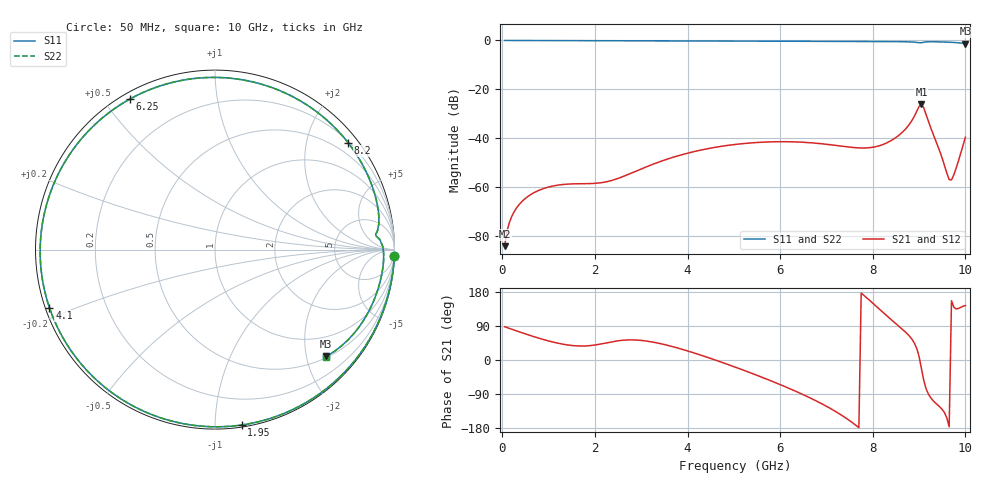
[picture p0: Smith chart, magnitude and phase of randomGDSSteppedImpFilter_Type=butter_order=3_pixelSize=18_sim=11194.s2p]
! freq	dB(S11)	phase(S11)	dB(S12)	phase(S12)
!  dB(S21)	phase(S21)	dB(S22)	phase(S22)
!S-par simulation data
#  GHz  S  DB  R 50
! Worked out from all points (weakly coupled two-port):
!   200 points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, 50 MHz to 10 GHz, reference 50 ohm
!   highest |S21| = -26.08 dB at 9.05 GHz (marker M1); lowest = -84.0 dB at 50 MHz (marker M2)
!   lowest |S11| = -1.3 dB at 10 GHz (marker M3), VSWR 13.24, Z = 26.2 - j119 ohm
!   |S11| at or under -10 dB: nowhere
!   |S22| runs from -1.3 to 0.0 dB; largest |S21 - S12| = 0
!   S11 on the Smith chart (normalised r, x): 50 MHz: 0, -52; 1.95 GHz: 0.01, -1.16; 4.1 GHz: 0.01, -0.17; 6.25 GHz: 0.02, +0.58; 8.2 GHz: 0.23, +2.83; 10 GHz: 0.52, -2.39
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0.05  -0.00 -2.2  -84.04 87.8  -84.04 87.8  -0.00 -2.2
0.25  -0.02 -10.9  -70.17 79.2  -70.17 79.2  -0.02 -10.9
0.6  -0.04 -25.9  -63.13 64.8  -63.13 64.8  -0.04 -25.9
1.1  -0.06 -47.0  -59.43 47.2  -59.43 47.2  -0.06 -47.0
1.75  -0.09 -73.4  -58.51 36.9  -58.51 36.9  -0.09 -73.4
1.95  -0.10 -81.3  -58.43 38.7  -58.43 38.7  -0.10 -81.3
2.65  -0.13 -108.1  -55.26 52.6  -55.26 52.6  -0.13 -108.1
3.4  -0.16 -135.6  -49.53 43.6  -49.53 43.6  -0.16 -135.5
4.1  -0.20 -160.7  -45.58 20.2  -45.58 20.2  -0.20 -160.6
5.05  -0.25 165.0  -42.44 -19.7  -42.44 -19.7  -0.25 165.1
5.65  -0.29 142.6  -41.53 -47.6  -41.53 -47.6  -0.29 142.7
6.25  -0.32 119.4  -41.40 -77.9  -41.40 -77.9  -0.32 119.4
6.7  -0.35 101.3  -41.85 -103.2  -41.85 -103.2  -0.35 101.3
7.45  -0.38 70.3  -43.47 -155.7  -43.47 -155.7  -0.38 70.3
8.2  -0.44 38.7  -42.65 127.9  -42.65 127.9  -0.44 38.7
8.35  -0.45 32.4  -41.38 111.6  -41.38 111.6  -0.45 32.3
8.75  -0.56 15.3  -35.25 68.5  -35.25 68.5  -0.56 15.3
9.05  -0.92 4.9  -26.08 -21.5  -26.08 -21.5  -0.91 4.8
9.25  -0.53 -3.9  -35.63 -99.4  -35.63 -99.4  -0.53 -4.1
9.65  -0.71 -23.2  -56.84 -176.2  -56.84 -176.2  -0.72 -23.4
9.75  -0.81 -28.4  -54.91 139.6  -54.91 139.6  -0.82 -28.7
10  -1.31 -43.8  -39.54 143.8  -39.54 143.8  -1.32 -44.2
